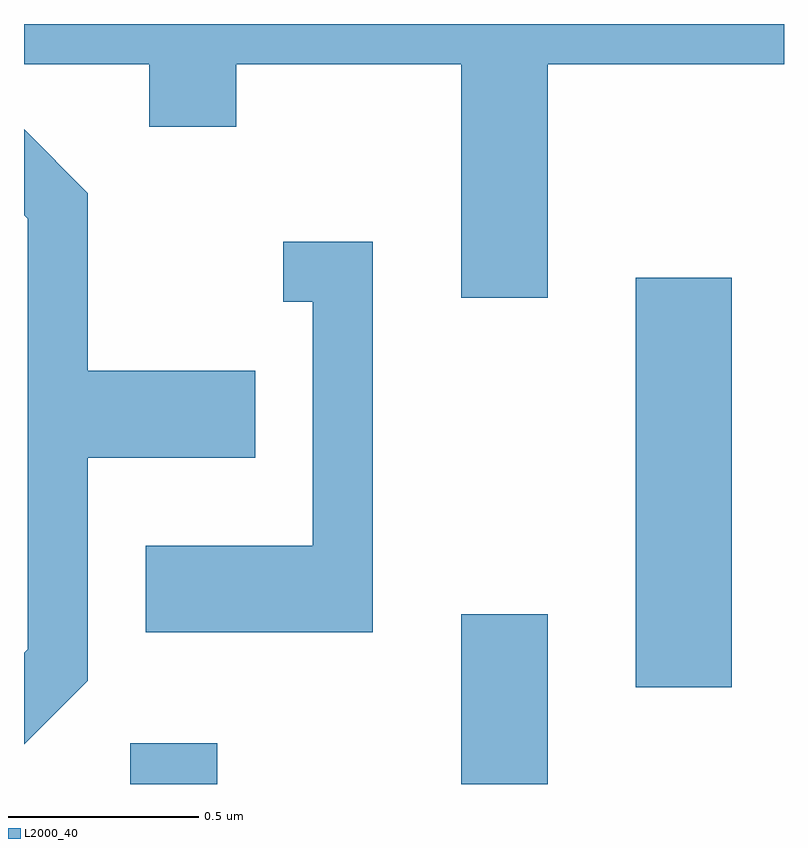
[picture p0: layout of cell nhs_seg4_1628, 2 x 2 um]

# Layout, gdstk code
import gdstk
lib = gdstk.Library(unit=1e-6, precision=1e-09)
def R(c, l, rs):  # rectangles x0, y0, x1, y1
    for r in rs: c.add(gdstk.rectangle(r[:2], r[2:], *l))
def P(c, l, *ps):  # polygons
    for p in ps: c.add(gdstk.Polygon(p, *l))
L2000_40 = (2000, 40)

nhs_seg4_1628 = lib.new_cell('nhs_seg4_1628')
R(nhs_seg4_1628, L2000_40, [(196.891,1374.982,197.119,1375.089), (197.761,1374.982,197.989,1375.429), (198.221,1375.236,198.474,1376.314)])
P(nhs_seg4_1628, L2000_40, [(197.989,1376.876),(198.611,1376.876),(198.611,1376.982),(196.611,1376.982),(196.611,1376.876),(196.941,1376.876),(196.941,1376.711),(197.169,1376.711),(197.169,1376.876),(197.761,1376.876),(197.761,1376.261),(197.989,1376.261)],
  [(196.779,1375.254),(196.779,1375.841),(197.219,1375.841),(197.219,1376.069),(196.779,1376.069),(196.779,1376.537),(196.611,1376.705),(196.611,1376.479),(196.621,1376.469),(196.621,1375.337),(196.611,1375.327),(196.611,1375.086),(196.612,1375.086)],
  [(197.529,1376.409),(197.293,1376.409),(197.293,1376.251),(197.371,1376.251),(197.371,1375.609),(196.931,1375.609),(196.931,1375.381),(197.529,1375.381)])

lib.write_gds('nhs_seg4_1628.gds')
